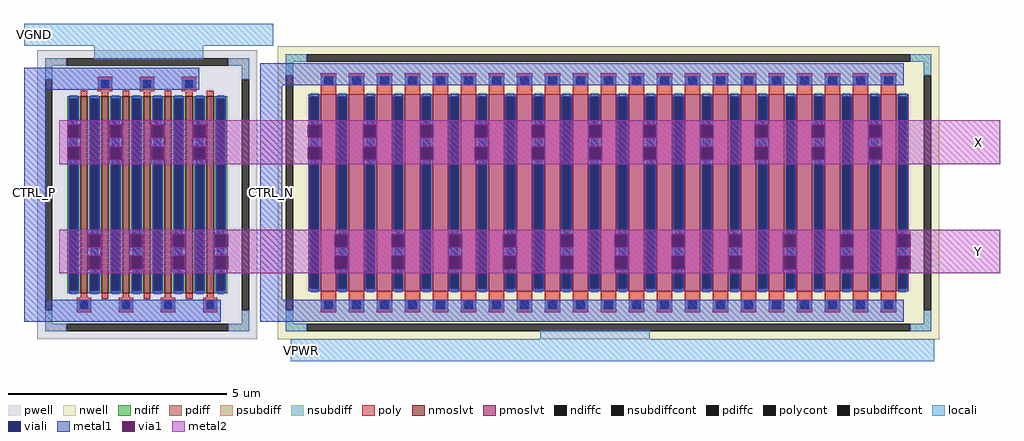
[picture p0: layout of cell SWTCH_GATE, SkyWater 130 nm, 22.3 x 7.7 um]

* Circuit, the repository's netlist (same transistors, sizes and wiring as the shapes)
** sch_path: /home/couch/dev/personal/chacha-silicon/tt09-analog-switch/swtch_gate_sky130nm/design/SWTCH_GATE_SKY130NM/SWTCH_GATE.sch
.subckt SWTCH_GATE VPWR X CTRL_P CTRL_N Y VGND
*.ipin VPWR
*.ipin VGND
*.ipin CTRL_P
*.ipin CTRL_N
*.iopin X
*.iopin Y
XM3 Y CTRL_N X VPWR sky130_fd_pr__pfet_01v8_lvt L=0.35 W=94.5 nf=21 ad='int((nf+1)/2) * W/nf * 0.29' as='int((nf+2)/2) * W/nf * 0.29'  pd='2*int((nf+1)/2) * (W/nf + 0.29)' ps='2*int((nf+2)/2) * (W/nf + 0.29)' nrd='0.29 / W' nrs='0.29 / W' sa=0 sb=0 sd=0 mult=1 m=1
XM4 X CTRL_P Y VGND sky130_fd_pr__nfet_01v8_lvt L=0.15 W=31.5 nf=7 ad='int((nf+1)/2) * W/nf * 0.29' as='int((nf+2)/2) * W/nf * 0.29'  pd='2*int((nf+1)/2) * (W/nf + 0.29)' ps='2*int((nf+2)/2) * (W/nf + 0.29)' nrd='0.29 / W' nrs='0.29 / W' sa=0 sb=0 sd=0 mult=1 m=1
.ends
.end

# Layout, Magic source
magic
tech sky130A
magscale 1 2
<< locali >>
rect -60 1340 1080 1440
rect 260 1280 760 1340
rect 2300 0 2800 40
rect 1160 -100 4100 0
<< metal1 >>
rect -60 1140 740 1240
rect 1020 1160 3960 1260
rect -60 180 40 1140
rect 140 980 200 1000
rect 140 880 200 920
rect 140 800 200 820
rect 330 980 390 1000
rect 330 880 390 920
rect 330 800 390 820
rect 520 980 580 1000
rect 520 880 580 920
rect 520 800 580 820
rect 710 980 770 1000
rect 710 880 770 920
rect 710 800 770 820
rect 230 480 290 500
rect 230 380 290 420
rect 230 300 290 320
rect 420 480 480 500
rect 420 380 480 420
rect 420 300 480 320
rect 620 480 680 500
rect 620 380 680 420
rect 620 300 680 320
rect 810 480 870 500
rect 810 380 870 420
rect 810 300 870 320
rect 1020 180 1120 1160
rect 1240 980 1300 1000
rect 1240 880 1300 920
rect 1240 800 1300 820
rect 1490 980 1550 1000
rect 1490 880 1550 920
rect 1490 800 1550 820
rect 1750 980 1810 1000
rect 1750 880 1810 920
rect 1750 800 1810 820
rect 2000 980 2060 1000
rect 2000 880 2060 920
rect 2000 800 2060 820
rect 2260 980 2320 1000
rect 2260 880 2320 920
rect 2260 800 2320 820
rect 2520 980 2580 1000
rect 2520 880 2580 920
rect 2520 800 2580 820
rect 2770 980 2830 1000
rect 2770 880 2830 920
rect 2770 800 2830 820
rect 3030 980 3090 1000
rect 3030 880 3090 920
rect 3030 800 3090 820
rect 3280 980 3340 1000
rect 3280 880 3340 920
rect 3280 800 3340 820
rect 3540 980 3600 1000
rect 3540 880 3600 920
rect 3540 800 3600 820
rect 3800 980 3860 1000
rect 3800 880 3860 920
rect 3800 800 3860 820
rect 1360 480 1420 500
rect 1360 380 1420 420
rect 1360 300 1420 320
rect 1620 480 1680 500
rect 1620 380 1680 420
rect 1620 300 1680 320
rect 1880 480 1940 500
rect 1880 380 1940 420
rect 1880 300 1940 320
rect 2130 480 2190 500
rect 2130 380 2190 420
rect 2130 300 2190 320
rect 2390 480 2450 500
rect 2390 380 2450 420
rect 2390 300 2450 320
rect 2640 480 2700 500
rect 2640 380 2700 420
rect 2640 300 2700 320
rect 2900 480 2960 500
rect 2900 380 2960 420
rect 2900 300 2960 320
rect 3160 480 3220 500
rect 3160 380 3220 420
rect 3160 300 3220 320
rect 3410 480 3470 500
rect 3410 380 3470 420
rect 3410 300 3470 320
rect 3670 480 3730 500
rect 3670 380 3730 420
rect 3670 300 3730 320
rect 3930 480 3990 500
rect 3930 380 3990 420
rect 3930 300 3990 320
rect -60 80 840 180
rect 1020 80 3960 180
<< via1 >>
rect 140 920 200 980
rect 140 820 200 880
rect 330 920 390 980
rect 330 820 390 880
rect 520 920 580 980
rect 520 820 580 880
rect 710 920 770 980
rect 710 820 770 880
rect 230 420 290 480
rect 230 320 290 380
rect 420 420 480 480
rect 420 320 480 380
rect 620 420 680 480
rect 620 320 680 380
rect 810 420 870 480
rect 810 320 870 380
rect 1240 920 1300 980
rect 1240 820 1300 880
rect 1490 920 1550 980
rect 1490 820 1550 880
rect 1750 920 1810 980
rect 1750 820 1810 880
rect 2000 920 2060 980
rect 2000 820 2060 880
rect 2260 920 2320 980
rect 2260 820 2320 880
rect 2520 920 2580 980
rect 2520 820 2580 880
rect 2770 920 2830 980
rect 2770 820 2830 880
rect 3030 920 3090 980
rect 3030 820 3090 880
rect 3280 920 3340 980
rect 3280 820 3340 880
rect 3540 920 3600 980
rect 3540 820 3600 880
rect 3800 920 3860 980
rect 3800 820 3860 880
rect 1360 420 1420 480
rect 1360 320 1420 380
rect 1620 420 1680 480
rect 1620 320 1680 380
rect 1880 420 1940 480
rect 1880 320 1940 380
rect 2130 420 2190 480
rect 2130 320 2190 380
rect 2390 420 2450 480
rect 2390 320 2450 380
rect 2640 420 2700 480
rect 2640 320 2700 380
rect 2900 420 2960 480
rect 2900 320 2960 380
rect 3160 420 3220 480
rect 3160 320 3220 380
rect 3410 420 3470 480
rect 3410 320 3470 380
rect 3670 420 3730 480
rect 3670 320 3730 380
rect 3930 420 3990 480
rect 3930 320 3990 380
<< metal2 >>
rect 100 980 4400 1000
rect 100 920 140 980
rect 200 920 330 980
rect 390 920 520 980
rect 580 920 710 980
rect 770 920 1240 980
rect 1300 920 1490 980
rect 1550 920 1750 980
rect 1810 920 2000 980
rect 2060 920 2260 980
rect 2320 920 2520 980
rect 2580 920 2770 980
rect 2830 920 3030 980
rect 3090 920 3280 980
rect 3340 920 3540 980
rect 3600 920 3800 980
rect 3860 920 4400 980
rect 100 880 4400 920
rect 100 820 140 880
rect 200 820 330 880
rect 390 820 520 880
rect 580 820 710 880
rect 770 820 1240 880
rect 1300 820 1490 880
rect 1550 820 1750 880
rect 1810 820 2000 880
rect 2060 820 2260 880
rect 2320 820 2520 880
rect 2580 820 2770 880
rect 2830 820 3030 880
rect 3090 820 3280 880
rect 3340 820 3540 880
rect 3600 820 3800 880
rect 3860 820 4400 880
rect 100 800 4400 820
rect 100 480 4400 500
rect 100 420 230 480
rect 290 420 420 480
rect 480 420 620 480
rect 680 420 810 480
rect 870 420 1360 480
rect 1420 420 1620 480
rect 1680 420 1880 480
rect 1940 420 2130 480
rect 2190 420 2390 480
rect 2450 420 2640 480
rect 2700 420 2900 480
rect 2960 420 3160 480
rect 3220 420 3410 480
rect 3470 420 3670 480
rect 3730 420 3930 480
rect 3990 420 4400 480
rect 100 380 4400 420
rect 100 320 230 380
rect 290 320 420 380
rect 480 320 620 380
rect 680 320 810 380
rect 870 320 1360 380
rect 1420 320 1620 380
rect 1680 320 1880 380
rect 1940 320 2130 380
rect 2190 320 2390 380
rect 2450 320 2640 380
rect 2700 320 2900 380
rect 2960 320 3160 380
rect 3220 320 3410 380
rect 3470 320 3670 380
rect 3730 320 3930 380
rect 3990 320 4400 380
rect 100 300 4400 320
use sky130_fd_pr__nfet_01v8_lvt_8AG63Z  sky130_fd_pr__nfet_01v8_lvt_8AG63Z_0
transform 1 0 503 0 1 660
box -503 -660 503 660
use sky130_fd_pr__pfet_01v8_lvt_MUCXQQ  sky130_fd_pr__pfet_01v8_lvt_MUCXQQ_0
transform 1 0 2611 0 1 669
box -1511 -669 1511 669
<< labels >>
rlabel locali 1160 -100 1260 0 1 VPWR
port 1 n
rlabel locali -60 1340 40 1440 1 VGND
port 2 n
rlabel metal1 -60 620 40 720 1 CTRL_P
port 3 n
rlabel metal1 1020 620 1120 720 1 CTRL_N
port 4 n
rlabel metal2 4200 800 4400 1000 1 X
port 5 n
rlabel metal2 4200 300 4400 500 1 Y
port 6 n
<< end >>

# cell sky130_fd_pr__nfet_01v8_lvt_8AG63Z: kit device sky130_fd_pr__nfet_01v8_lvt, w 4.5 l 0.150 m 1 nf 7 diffcov 100 polycov 100 guard 1 glc 1 grc 1 gtc 1 gbc 1 tbcov 100 rlcov 100 topc 1 botc 1 poverlap 0 doverlap 1 lmin 0.15 wmin 0.42 compatible {sky130_fd_pr__nfet_01v8 sky130_fd_pr__nfet_01v8_lvt sky130_fd_bs_flash__special_sonosfet_star sky130_fd_pr__nfet_g5v0d10v5 sky130_fd_pr__nfet_05v0_nvt sky130_fd_pr__nfet_03v3_nvt} full_metal 1 viasrc 100 viadrn 100 viagate 100 viagb 0 viagr 0 viagl 0 viagt 0

# cell sky130_fd_pr__pfet_01v8_lvt_MUCXQQ: kit device sky130_fd_pr__pfet_01v8_lvt, w 4.5 l 0.35 m 1 nf 21 diffcov 100 polycov 100 guard 1 glc 1 grc 1 gtc 1 gbc 1 tbcov 100 rlcov 100 topc 1 botc 1 poverlap 0 doverlap 1 lmin 0.35 wmin 0.42 compatible {sky130_fd_pr__pfet_01v8 sky130_fd_pr__pfet_01v8_lvt sky130_fd_pr__pfet_01v8_hvt sky130_fd_pr__pfet_g5v0d10v5} full_metal 1 viasrc 100 viadrn 100 viagate 100 viagb 0 viagr 0 viagl 0 viagt 0
